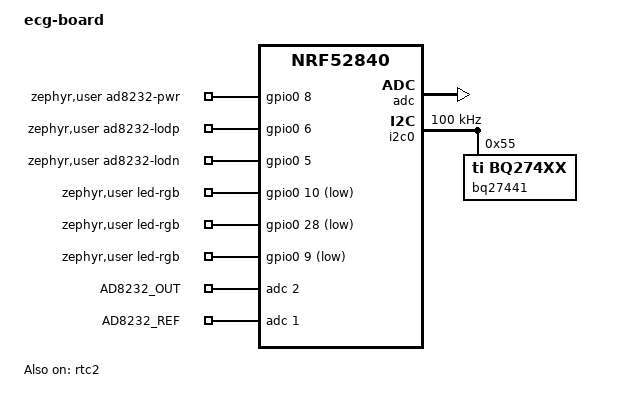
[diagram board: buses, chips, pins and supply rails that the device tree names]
// Copyright (c) 2023 Nordic Semiconductor ASA
// SPDX-License-Identifier: Apache-2.0

/dts-v1/;

#include <nordic/nrf52840_qiaa.dtsi>
#include "ecg_board-pinctrl.dtsi"

/ {
	model = "ecg-board";
	compatible = "inl,ecg-board";

	chosen {
		zephyr,sram = &sram0;
		zephyr,flash = &flash0;
		zephyr,code-partition = &slot0_partition;
	};
	
	zephyr,user {
		ad8232-pwr-gpios  = < &gpio0  8  GPIO_ACTIVE_HIGH >; // 8 on final board
		ad8232-lodp-gpios = < &gpio0  6  GPIO_ACTIVE_HIGH >;
		ad8232-lodn-gpios = < &gpio0  5  GPIO_ACTIVE_HIGH >;
		led-rgb-gpios     = < &gpio0 10  GPIO_ACTIVE_LOW >,  // r
                            < &gpio0 28  GPIO_ACTIVE_LOW >,  // g
                            < &gpio0 9   GPIO_ACTIVE_LOW >;  // b
        io-channels       = < &adc 2 >, < &adc 1>; // This number correspond to AIN(n+1) ex. for AIN1 (P0.03) is 2 so it can be used directly in ADC configuration
        io-channel-names  = "AD8232_OUT", "AD8232_REF";
		
	};
};

&gpiote {
	status = "okay";
};

&gpio0 {
	status = "okay";
};

&gpio1 {
	status = "okay";
};

&uicr {
    nfct-pins-as-gpios;
};

&adc {
    status = "okay";
};

&i2c0 {
    compatible = "nordic,nrf-twi"; // Rather than nrf-twim, as it enabled large buffer burst-write without copying data
    status = "okay";
    clock-frequency = < I2C_BITRATE_STANDARD >;
    pinctrl-0 = <&i2c0_default>;
    pinctrl-1 = <&i2c0_sleep>;
    pinctrl-names = "default", "sleep";

    bq27441: bq27441@55 {
        compatible = "ti,bq274xx";
        reg = <0x55>;
        //int-gpios = <&gpio1 0 GPIO_ACTIVE_HIGH>; // fake an INT gpio necessary when using CONFIG_PM_DEVICE = y
        design-voltage = <4200>;
        design-capacity = <155>;
        taper-current = <15>;
        terminate-voltage = <3300>;
    };
};

&rtc2 {
	status = "okay";
	clock-frequency = <32768>;
	prescaler = <1>;
};

&flash0 {
	partitions {
		compatible = "fixed-partitions";
		#address-cells = <1>;
		#size-cells = <1>;

		boot_partition: partition@0 {
			label = "mcuboot";
			reg = <0x0 0xc000>;
		};
		slot0_partition: partition@c000 {
			label = "image-0";
			reg = <0xc000 0x72000>;
		};
		slot1_partition: partition@7e000 {
			label = "image-1";
			reg = <0x7e000 0x72000>;
		};
		scratch_partition: partition@f0000 {
			label = "image-scratch";
			reg = <0xf0000 0xa000>;
		};
		storage_partition: partition@fa000 {
			label = "storage";
			reg = <0xfa000 0x6000>;
		};
	};
};
